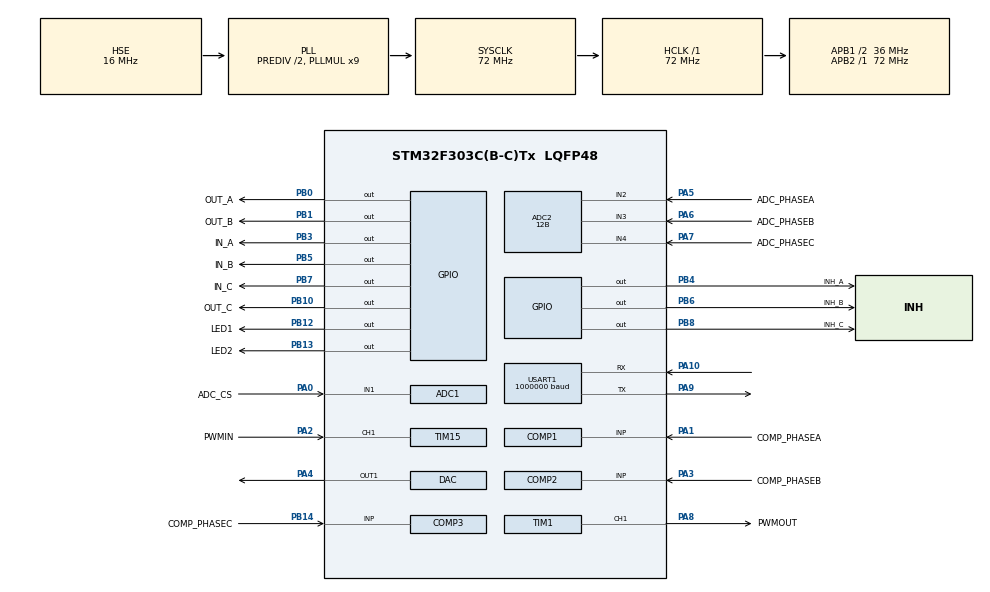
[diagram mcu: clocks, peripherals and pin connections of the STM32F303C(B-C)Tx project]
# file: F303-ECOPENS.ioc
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ADC1.Channel-0\#ChannelRegularConversion=ADC_CHANNEL_1
ADC1.ContinuousConvMode=ENABLE
ADC1.DMAContinuousRequests=ENABLE
ADC1.DataAlign=ADC_DATAALIGN_RIGHT
ADC1.EOCSelection=ADC_EOC_SEQ_CONV
ADC1.EnableInjectedConversion=DISABLE
ADC1.ExternalTrigConv=ADC_SOFTWARE_START
ADC1.ExternalTrigConvEdge=ADC_EXTERNALTRIGCONVEDGE_NONE
ADC1.NbrOfConversion=1
ADC1.NbrOfConversionFlag=1
ADC1.Offset-0\#ChannelRegularConversion=0
ADC1.OffsetNumber-0\#ChannelRegularConversion=ADC_OFFSET_NONE
ADC1.Rank-0\#ChannelRegularConversion=1
ADC1.SamplingTime-0\#ChannelRegularConversion=ADC_SAMPLETIME_19CYCLES_5
ADC1.SamplingTimeOPAMP-0\#ChannelRegularConversion=ADC_SAMPLETIME_4CYCLES_5
ADC1.master=1
ADC2.Channel-1\#ChannelRegularConversion=ADC_CHANNEL_2
ADC2.ClockPrescaler=ADC_CLOCK_ASYNC_DIV1
ADC2.ContinuousConvMode=ENABLE
ADC2.DMAContinuousRequests=ENABLE
ADC2.EnableInjectedConversion=DISABLE
ADC2.ExternalTrigConv=ADC_SOFTWARE_START
ADC2.ExternalTrigConvEdge=ADC_EXTERNALTRIGCONVEDGE_NONE
ADC2.NbrOfConversion=1
ADC2.NbrOfConversionFlag=1
ADC2.Offset-1\#ChannelRegularConversion=0
ADC2.OffsetNumber-1\#ChannelRegularConversion=ADC_OFFSET_NONE
ADC2.Rank-1\#ChannelRegularConversion=1
ADC2.Resolution=ADC_RESOLUTION_12B
ADC2.SamplingTime-1\#ChannelRegularConversion=ADC_SAMPLETIME_1CYCLE_5
COMP1.BlankingSrce=COMP_BLANKINGSRCE_TIM1OC5
COMP1.InvertingInput=COMP_INVERTINGINPUT_DAC1_CH1
COMP1.TriggerMode=COMP_TRIGGERMODE_IT_RISING_FALLING
COMP2.BlankingSrce=COMP_BLANKINGSRCE_TIM1OC5
COMP2.InvertingInput=COMP_INVERTINGINPUT_DAC1_CH1
COMP2.TriggerMode=COMP_TRIGGERMODE_IT_RISING_FALLING
COMP3.BlankingSrce=COMP_BLANKINGSRCE_TIM1OC5
COMP3.InvertingInput=COMP_INVERTINGINPUT_DAC1_CH1
COMP3.TriggerMode=COMP_TRIGGERMODE_IT_RISING_FALLING
Dma.ADC1.1.Direction=DMA_PERIPH_TO_MEMORY
Dma.ADC1.1.Instance=DMA1_Channel1
Dma.ADC1.1.MemDataAlignment=DMA_MDATAALIGN_HALFWORD
Dma.ADC1.1.MemInc=DMA_MINC_ENABLE
Dma.ADC1.1.Mode=DMA_CIRCULAR
Dma.ADC1.1.PeriphDataAlignment=DMA_PDATAALIGN_HALFWORD
Dma.ADC1.1.PeriphInc=DMA_PINC_DISABLE
Dma.ADC1.1.Priority=DMA_PRIORITY_LOW
Dma.ADC2.2.Direction=DMA_PERIPH_TO_MEMORY
Dma.ADC2.2.Instance=DMA2_Channel1
Dma.ADC2.2.MemDataAlignment=DMA_MDATAALIGN_HALFWORD
Dma.ADC2.2.MemInc=DMA_MINC_ENABLE
Dma.ADC2.2.Mode=DMA_CIRCULAR
Dma.ADC2.2.PeriphDataAlignment=DMA_PDATAALIGN_HALFWORD
Dma.ADC2.2.PeriphInc=DMA_PINC_DISABLE
Dma.ADC2.2.Priority=DMA_PRIORITY_HIGH
Dma.Request0=USART1_RX
Dma.Request1=ADC1
Dma.Request2=ADC2
Dma.USART1_RX.0.Direction=DMA_PERIPH_TO_MEMORY
Dma.USART1_RX.0.Instance=DMA1_Channel5
Dma.USART1_RX.0.MemDataAlignment=DMA_MDATAALIGN_BYTE
Dma.USART1_RX.0.MemInc=DMA_MINC_ENABLE
Dma.USART1_RX.0.Mode=DMA_CIRCULAR
Dma.USART1_RX.0.PeriphDataAlignment=DMA_PDATAALIGN_BYTE
Dma.USART1_RX.0.PeriphInc=DMA_PINC_DISABLE
Dma.USART1_RX.0.Priority=DMA_PRIORITY_LOW
Mcu.Family=STM32F3
Mcu.Name=STM32F303C(B-C)Tx
Mcu.Package=LQFP48
NVIC.COMP1_2_3_IRQn=true\:0\:0\:false\:false\:true\:false\:true
NVIC.DMA1_Channel1_IRQn=true\:3\:0\:true\:false\:true\:false\:true
NVIC.DMA1_Channel5_IRQn=true\:0\:0\:true\:false\:true\:false\:true
NVIC.DMA2_Channel1_IRQn=true\:0\:0\:false\:false\:true\:false\:true
NVIC.PriorityGroup=NVIC_PRIORITYGROUP_4
NVIC.TIM1_BRK_TIM15_IRQn=true\:0\:0\:true\:false\:true\:true\:true
NVIC.TIM1_CC_IRQn=true\:0\:0\:false\:false\:true\:true\:true
NVIC.TIM1_UP_TIM16_IRQn=true\:1\:0\:true\:false\:true\:true\:true
NVIC.TIM3_IRQn=true\:0\:0\:true\:false\:true\:true\:true
NVIC.TIM6_DAC_IRQn=true\:2\:0\:true\:false\:true\:true\:true
NVIC.USART1_IRQn=true\:1\:0\:true\:false\:true\:true\:true
PA0.GPIO_Label=ADC_CS
PA0.Mode=IN1-Single-Ended
PA0.Signal=ADC1_IN1
PA1.GPIO_Label=COMP_PHASEA
PA1.Mode=INP
PA1.Signal=COMP1_INP
PA10.Mode=Asynchronous
PA10.Signal=USART1_RX
PA13.Mode=Serial_Wire
PA13.Signal=SYS_JTMS-SWDIO
PA14.Mode=Serial_Wire
PA14.Signal=SYS_JTCK-SWCLK
PA2.GPIO_Label=PWMIN
PA2.GPIO_PuPd=GPIO_PULLDOWN
PA2.GPIO_Speed=GPIO_SPEED_FREQ_LOW
PA2.Signal=S_TIM15_CH1
PA3.GPIO_Label=COMP_PHASEB
PA3.Mode=INP
PA3.Signal=COMP2_INP
PA4.Signal=COMP_DAC1_group
PA5.GPIO_Label=ADC_PHASEA
PA5.Signal=SharedAnalog_PA5
PA6.GPIO_Label=ADC_PHASEB
PA6.Mode=IN3-Single-Ended
PA6.Signal=ADC2_IN3
PA7.GPIO_Label=ADC_PHASEC
PA7.Mode=IN4-Single-Ended
PA7.Signal=ADC2_IN4
PA8.GPIO_Label=PWMOUT
PA8.GPIO_PuPd=GPIO_PULLDOWN
PA8.GPIO_Speed=GPIO_SPEED_FREQ_HIGH
PA8.Signal=S_TIM1_CH1
PA9.Mode=Asynchronous
PA9.Signal=USART1_TX
PB0.GPIO_Label=OUT_A
PB0.GPIO_ModeDefaultOutputPP=GPIO_MODE_OUTPUT_OD
PB0.Signal=GPIO_Output
PB1.GPIO_Label=OUT_B
PB1.GPIO_ModeDefaultOutputPP=GPIO_MODE_OUTPUT_OD
PB1.Signal=GPIO_Output
PB10.GPIO_Label=OUT_C
PB10.GPIO_ModeDefaultOutputPP=GPIO_MODE_OUTPUT_OD
PB10.Signal=GPIO_Output
PB12.GPIO_Label=LED1
PB12.Signal=GPIO_Output
PB13.GPIO_Label=LED2
PB13.Signal=GPIO_Output
PB14.GPIO_Label=COMP_PHASEC
PB14.Mode=INP
PB14.Signal=COMP3_INP
PB3.GPIO_Label=IN_A
PB3.GPIO_ModeDefaultOutputPP=GPIO_MODE_OUTPUT_OD
PB3.Signal=GPIO_Output
PB4.GPIO_Label=INH_A
PB4.Signal=GPIO_Output
PB5.GPIO_Label=IN_B
PB5.GPIO_ModeDefaultOutputPP=GPIO_MODE_OUTPUT_OD
PB5.Signal=GPIO_Output
PB6.GPIO_Label=INH_B
PB6.Signal=GPIO_Output
PB7.GPIO_Label=IN_C
PB7.GPIO_ModeDefaultOutputPP=GPIO_MODE_OUTPUT_OD
PB7.Signal=GPIO_Output
PB8.GPIO_Label=INH_C
PB8.Signal=GPIO_Output
PF0-OSC_IN.Mode=HSE-External-Oscillator
PF0-OSC_IN.Signal=RCC_OSC_IN
PF1-OSC_OUT.Mode=HSE-External-Oscillator
PF1-OSC_OUT.Signal=RCC_OSC_OUT
ProjectManager.HeapSize=0x200
ProjectManager.StackSize=0x400
ProjectManager.TargetToolchain=STM32CubeIDE
RCC.ADC12PRES=RCC_ADC12PLLCLK_DIV6
RCC.AHBFreq_Value=72000000
RCC.APB1CLKDivider=RCC_HCLK_DIV2
RCC.APB1Freq_Value=36000000
RCC.APB1TimFreq_Value=72000000
RCC.APB2Freq_Value=72000000
RCC.APB2TimFreq_Value=72000000
RCC.CortexFreq_Value=72000000
RCC.HCLKFreq_Value=72000000
RCC.HSE_VALUE=16000000
RCC.HSI_VALUE=8000000
RCC.LSE_VALUE=32768
RCC.PLLMUL=RCC_PLL_MUL9
RCC.PLLSourceVirtual=RCC_PLLSOURCE_HSE
RCC.RCC_PLLsource_Clock_Source_FROM_HSE=RCC_HSE_PREDIV_DIV2
RCC.SYSCLKFreq_VALUE=72000000
RCC.SYSCLKSourceVirtual=RCC_SYSCLKSOURCE_PLLCLK
RCC.USBFreq_Value=72000000
SH.COMP_DAC1_group.0=DAC_OUT1,DAC_OUT1
SH.S_TIM15_CH1.0=TIM15_CH1,Input_Capture1_from_TI1
SH.S_TIM15_CH1.1=TIM15_CH1,Input_Capture2_from_TI1
SH.S_TIM1_CH1.0=TIM1_CH1,PWM Generation1 CH1
SH.SharedAnalog_PA5.0=OPAMP2_VINM
SH.SharedAnalog_PA5.1=ADC2_IN2,IN2-Single-Ended
TIM1.Channel-Output\ Compare2\ No\ Output=TIM_CHANNEL_2
TIM1.Channel-PWM\ Generation1\ CH1=TIM_CHANNEL_1
TIM1.Channel-PWM\ Generation5\ No\ Output=TIM_CHANNEL_5
TIM1.CounterMode=TIM_COUNTERMODE_CENTERALIGNED3
TIM1.OCFastMode_PWM-PWM\ Generation1\ CH1=TIM_OCFAST_ENABLE
TIM1.OCIdleState_1=TIM_OCIDLESTATE_SET
TIM1.OCIdleState_2=TIM_OCIDLESTATE_SET
TIM1.OCIdleState_5=TIM_OCIDLESTATE_SET
TIM1.OCMode_2=TIM_OCMODE_TOGGLE
TIM1.Period=2000
TIM1.Prescaler=2 - 1
TIM1.Pulse-Output\ Compare2\ No\ Output=100
TIM1.Pulse-PWM\ Generation1\ CH1=100
TIM1.Pulse-PWM\ Generation5\ No\ Output=120
TIM1.TIM_MasterOutputTrigger=TIM_TRGO_OC1
TIM1.TIM_MasterOutputTrigger2=TIM_TRGO2_OC5REF_RISING_OC6REF_RISING
TIM15.Channel-Input_Capture1_from_TI1=TIM_CHANNEL_1
TIM15.Channel-Input_Capture2_from_TI1=TIM_CHANNEL_2
TIM15.ICPolarity_CH2=TIM_INPUTCHANNELPOLARITY_FALLING
TIM15.Prescaler=72 - 1
TIM16.Period=1000
TIM16.Prescaler=72 - 1
TIM2.ClockDivision=TIM_CLOCKDIVISION_DIV1
TIM2.Prescaler=4 - 1
TIM3.Channel-Output\ Compare1\ No\ Output=TIM_CHANNEL_1
TIM3.Channel-Output\ Compare2\ No\ Output=TIM_CHANNEL_2
TIM3.ClockDivision=TIM_CLOCKDIVISION_DIV1
TIM3.Period=65000
TIM3.Prescaler=1
TIM3.Pulse-Output\ Compare1\ No\ Output=500
TIM3.Pulse-Output\ Compare2\ No\ Output=500
TIM6.Period=10 
TIM6.Prescaler=72 - 1
TIM7.Prescaler=6 - 1
USART1.BaudRate=1000000
USART1.VirtualMode-Asynchronous=VM_ASYNC
VP_COMP1_VS_DAC1OUT1.Mode=INM_DACOUT1
VP_COMP2_VS_DAC1OUT1.Mode=INM_DACOUT1
VP_COMP3_VS_DAC1OUT1.Mode=INM_DACOUT1
VP_TIM15_VS_ClockSourceINT.Mode=Internal
VP_TIM16_VS_ClockSourceINT.Mode=Enable_Timer
VP_TIM1_VS_no_output2.Mode=Output Compare2 No Output
VP_TIM1_VS_no_output5.Mode=PWM Generation5 No Output
VP_TIM2_VS_ClockSourceINT.Mode=Internal
VP_TIM3_VS_no_output1.Mode=Output Compare1 No Output
VP_TIM3_VS_no_output2.Mode=Output Compare2 No Output
VP_TIM6_VS_ClockSourceINT.Mode=Enable_Timer
VP_TIM7_VS_ClockSourceINT.Mode=Enable_Timer
board=custom

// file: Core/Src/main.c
/* USER CODE BEGIN Header */
/**
  ******************************************************************************
  * @file           : main.c
  * @brief          : Main program body
  ******************************************************************************
  * @attention
  *
  * <h2><center>&copy; Copyright (c) 2020 STMicroelectronics.
  * All rights reserved.</center></h2>
  *
  * This software component is licensed by ST under BSD 3-Clause license,
  * the "License"; You may not use this file except in compliance with the
  * License. You may obtain a copy of the License at:
  *                        opensource.org/licenses/BSD-3-Clause
  *
  ******************************************************************************
  */
/* USER CODE END Header */
#include "main.h"

/* USER CODE BEGIN Includes */
#include <string.h>
#include <stdbool.h>
#include <stdlib.h>
#include <stdio.h>
#include "dwt_delay.h"
/* USER CODE END Includes */

/* USER CODE BEGIN PTD */
typedef enum{
	MODE_MOTOR_STOP,
	MODE_MOTOR_CALIBRATION,
	MODE_MOTOR_READY,
	MODE_MOTOR_START,
	MODE_MOTOR_RUN
} MODE_MOTOR_t;
/* USER CODE END PTD */

ADC_HandleTypeDef hadc1;
ADC_HandleTypeDef hadc2;
DMA_HandleTypeDef hdma_adc1;
DMA_HandleTypeDef hdma_adc2;

COMP_HandleTypeDef hcomp1;
COMP_HandleTypeDef hcomp2;
COMP_HandleTypeDef hcomp3;

DAC_HandleTypeDef hdac;

TIM_HandleTypeDef htim1;
TIM_HandleTypeDef htim2;
TIM_HandleTypeDef htim3;
TIM_HandleTypeDef htim6;
TIM_HandleTypeDef htim7;
TIM_HandleTypeDef htim15;
TIM_HandleTypeDef htim16;

UART_HandleTypeDef huart1;
DMA_HandleTypeDef hdma_usart1_rx;

/* USER CODE BEGIN PV */
uint8_t buffer[200];
volatile uint16_t strSize;
volatile int commutationTimerCounter = 2000;
volatile uint16_t commutationTimerCounterArray[6] = { 20000, 20000, 2000, 20000, 20000, 20000 };
volatile uint8_t commutationStepCounter;
volatile uint8_t waitForCommutation = 1;
volatile uint16_t myADCvalue;
volatile uint16_t commutationTimerCounterAverage;
volatile uint16_t counterTIM3Values;
volatile int16_t commutationTimerOffset;

uint32_t tim2cnt;
uint8_t RXBuffer[200];
bool USART1DataFlag = false;
float adcIntegral = 0;

volatile int16_t newPWM = 100;
volatile int16_t setPWM = 100;
volatile int16_t compWindowOffset = 250; //this opens a comparator window to block overshooting signals from triggering (adjust to Vbat)
volatile uint16_t oc5Value = 200;  //preset offset-value (for fine tuning) of the DAC voltage output as the reference voltage for the compartors (about 0V or Vbat/2)
volatile uint8_t pwmState = 0; //indicates whether a zero crossing (pwm low) or a Vbat/2 crossing (pwm high) will be detected; 0 = PWM low detection, 1 = PWM high detection
volatile uint8_t bTransferRequest = 0;
volatile uint8_t motorGotStarted = 0;

ADC_ChannelConfTypeDef sConfig;
TIM_OC_InitTypeDef sConfigOC5B;
TIM_OC_InitTypeDef sConfigOC5A;
//float adcOffset = 2500;
float adcOffset = 2000;
uint8_t adcCounter = 0;
uint16_t csADC[12];
uint16_t adcBuffer[10];
uint16_t csSize;
uint8_t csString[100];
uint32_t tim7cnt;

volatile bool readRotation = false;

float measuredRPM = 0;
float inputRPM = 0;
uint32_t rpm_cnt = 0;

uint16_t input_pwm_min = 1000;
uint16_t input_pwm_max = 1900;

uint32_t inputDutyCycle = 0;
float inputFrequency = 0;
uint16_t oc5ValueOld = 0;

MODE_MOTOR_t mode_motor = MODE_MOTOR_STOP;
DMA_Event_t dma_uart_rx = {0, 0, DMA_BUF_SIZE};
uint8_t dma_rx_buf[DMA_BUF_SIZE];
uint8_t data[DMA_BUF_SIZE] = {'\0'};

/* USER CODE END PV */

void SystemClock_Config(void);
static void MX_GPIO_Init(void);
static void MX_DMA_Init(void);
static void MX_ADC1_Init(void);
static void MX_COMP1_Init(void);
static void MX_COMP2_Init(void);
static void MX_COMP3_Init(void);
static void MX_DAC_Init(void);
static void MX_TIM1_Init(void);
static void MX_TIM3_Init(void);
static void MX_USART1_UART_Init(void);
static void MX_ADC2_Init(void);
static void MX_TIM15_Init(void);
static void MX_TIM2_Init(void);
static void MX_TIM6_Init(void);
static void MX_TIM7_Init(void);
static void MX_TIM16_Init(void);
/* USER CODE BEGIN PFP */
void Controller(){
	float kp = 0.005f, ki = 0.0025f, kd = 0.00f;
	float error = (float)(inputRPM - measuredRPM);

	static float sumIntegral;
	sumIntegral += error * 0.00001;
	sumIntegral = constrain(sumIntegral, -5000, 5000);

	static float preverror;
	float derivative = (error - preverror) * 0.00001;
	preverror = error;

	float output = kp * error + ki * sumIntegral + kd * derivative;
	int16_t pwmError;
	if(output < 0){
		pwmError = (int16_t)map(output, -5000, 0,-PWM_MAX, PWM_MIN);
	} else if(output >= 0){
		pwmError = (int16_t)map(output, 0, 5000, PWM_MIN, PWM_MAX);
	}
	newPWM += pwmError;
	setPWM = constrain(newPWM, PWM_MIN, PWM_MAX);

	TIM1->CCR1 = setPWM;
	TIM1->CCR5 = setPWM + compWindowOffset;

}

void getUSARTData(){
	 if(USART1DataFlag){
		 USART1DataFlag = false;
		 if(data[0] == '#'){
			 if(memcmp(data + 1, "PWM=", 4) == 0 || memcmp(data + 1, "pwm=", 4) == 0){
				uint8_t value[4];
				memcpy(value, data + 5, 4);
				uint16_t x = atoi((char*)value);
				if(x){
					x = constrain(x, 1000, 2000);
					newPWM = map(x, 1000, 2000, PWM_MIN, PWM_MAX);
					setPWM = newPWM;

					TIM1->CCR1 = setPWM;
					TIM1->CCR5 = setPWM + compWindowOffset;

					strSize = sprintf((char*)buffer, "PWM: %d\r\n", newPWM);
					HAL_UART_Transmit(&huart1, buffer, strSize, 50);
				}
			}
			else if(memcmp(data + 1, "OC5=", 4) == 0 || memcmp(data + 1, "oc5=", 4) == 0){
				//uint8_t value[3];
				//memcpy(value, data + 5, 3);
				oc5Value = (uint16_t)strtoul((char*)data + 5, '\0',10);
				strSize = sprintf((char*)buffer, "oc5: %d\r\n", oc5Value);
				HAL_UART_Transmit(&huart1, buffer, strSize, 50);
			}
			else if(memcmp(data + 1, "STA", 3) == 0 || memcmp(data + 1, "sta", 3) == 0){
				motorGotStarted = 1;
				strSize = sprintf((char*)buffer, "Start Motor\r\n");
				HAL_UART_Transmit(&huart1, buffer, strSize, 50);
			}
			else if(memcmp(data + 1, "STO", 3) == 0 || memcmp(data + 1, "sto", 3) == 0){
				newPWM = setPWM = 0;
				TIM1->CCR1 = setPWM;
				TIM1->CCR5 = setPWM + compWindowOffset;
				motorGotStarted = 0;
				strSize = sprintf((char*)buffer, "Stop Motor\r\n");
				HAL_UART_Transmit(&huart1, buffer, strSize, 50);
			}
			else if(memcmp(data + 1, "ADO", 3) == 0 || memcmp(data +1, "ado", 3) == 0){
				adcOffset = (float)strtof((char*)data + 5,'\0');
				strSize = sprintf((char*)buffer, "ADC Offset: %f\r\n", adcOffset);
				HAL_UART_Transmit(&huart1, buffer, strSize, 20);
			}
			else if(memcmp(data + 1, "STS", 3) == 0 || memcmp(data + 1, "sts", 3) == 0){
				strSize = sprintf((char*)buffer, "adcOffset: %f\r\noc5Value: %d\r\n", adcOffset, oc5Value);
				HAL_UART_Transmit_IT(&huart1, buffer, strSize);
			}
		}
	 }
}
void commutateNow_0(void){
	HAL_GPIO_WritePin(INH_B_GPIO_Port, INH_B_Pin, GPIO_PIN_RESET);
	HAL_GPIO_WritePin(IN_C_GPIO_Port, IN_C_Pin, GPIO_PIN_RESET);
	HAL_GPIO_WritePin(INH_C_GPIO_Port, INH_C_Pin, GPIO_PIN_SET);
}

void commutateNow_1(void){
	HAL_GPIO_WritePin(INH_A_GPIO_Port, INH_A_Pin, GPIO_PIN_RESET);
	HAL_GPIO_WritePin(IN_B_GPIO_Port, IN_B_Pin, GPIO_PIN_SET);
	HAL_GPIO_WritePin(INH_B_GPIO_Port, INH_B_Pin, GPIO_PIN_SET);
}

void commutateNow_2(void){
	HAL_GPIO_WritePin(IN_A_GPIO_Port, IN_A_Pin, GPIO_PIN_RESET);
	HAL_GPIO_WritePin(INH_A_GPIO_Port, INH_A_Pin, GPIO_PIN_SET);
	HAL_GPIO_WritePin(INH_C_GPIO_Port, INH_C_Pin, GPIO_PIN_RESET);
}

void commutateNow_3(void){
	HAL_GPIO_WritePin(INH_B_GPIO_Port, INH_B_Pin, GPIO_PIN_RESET); //INH_B connected to ground, IC B Sleep Mode
	HAL_GPIO_WritePin(IN_C_GPIO_Port, IN_C_Pin, GPIO_PIN_SET); //IN_C floating, pwm mode
	HAL_GPIO_WritePin(INH_C_GPIO_Port, INH_C_Pin, GPIO_PIN_SET); //INH_C is high, IC C Active Mode

}

void commutateNow_4(void){
	HAL_GPIO_WritePin(INH_A_GPIO_Port, INH_A_Pin, GPIO_PIN_RESET); //INH_A connected to ground, IC A Sleep Mode
	HAL_GPIO_WritePin(IN_B_GPIO_Port, IN_B_Pin, GPIO_PIN_RESET); //IN_B connected to ground
	HAL_GPIO_WritePin(INH_B_GPIO_Port, INH_B_Pin, GPIO_PIN_SET); //INH_B is high, IC B Active Mode

}
void commutateNow_5(void){
	HAL_GPIO_WritePin(IN_A_GPIO_Port, IN_A_Pin, GPIO_PIN_SET); //IN_A connected to ground, PWM Mode
	HAL_GPIO_WritePin(INH_A_GPIO_Port, INH_A_Pin, GPIO_PIN_SET); //INH_A is HIGH, IC A Active Mode
	HAL_GPIO_WritePin(INH_C_GPIO_Port, INH_C_Pin, GPIO_PIN_RESET); //INH_C connected to ground, IC C Sleep Mode
}

void commutationPattern(uint8_t step){
	if (step == NEXT && waitForCommutation == 1) {
		if (commutationStepCounter < STEP_5)
			commutationStepCounter++;
		else{
			commutationStepCounter = STEP_0;
		}
		switch (commutationStepCounter) {
		case STEP_0:
			commutateNow_0();
			COMPDELAY;
			waitForCommutation = 0;
			HAL_COMP_Start_IT(&hcomp2);
			break;
		case STEP_1:
			commutateNow_1();
			COMPDELAY;
			waitForCommutation = 0;
			HAL_COMP_Start_IT(&hcomp1);
			break;
		case STEP_2:
			commutateNow_2();
			COMPDELAY;
			waitForCommutation = 0;
			HAL_COMP_Start_IT(&hcomp3);
			break;
		case STEP_3:
			commutateNow_3();
			COMPDELAY;
			waitForCommutation = 0;
			HAL_COMP_Start_IT(&hcomp2);
			break;
		case STEP_4:
			commutateNow_4();
			COMPDELAY;
			waitForCommutation = 0;
			HAL_COMP_Start_IT(&hcomp1);
			break;
		case STEP_5:
			commutateNow_5();
			COMPDELAY;
			waitForCommutation = 0;
			HAL_COMP_Start_IT(&hcomp3);
			break;
		}
	} else {
		waitForCommutation = 0;
		switch (step) {
		case STEP_0:
			commutateNow_0();
			break;
		case STEP_1:
			commutateNow_1();
			break;
		case STEP_2:
			commutateNow_2();
			break;
		case STEP_3:
			commutateNow_3();
			break;
		case STEP_4:
			commutateNow_4();
			break;
		case STEP_5:
			commutateNow_5();
			break;
		}
	}
}

/*void startMotor(void){
	newPWM = setPWM = 300;
	compWindowOffset = 200;
	TIM1->CCR1 = setPWM;
	TIM1->CCR5 = setPWM + compWindowOffset;

	commutateNow_0();
	HAL_Delay(150);
	commutationStepCounter = STEP_0;
	waitForCommutation = 1;

	for (uint16_t i = 0; i <1; i++) {
		commutationPattern(NEXT);
		waitForCommutation = 1;
		HAL_Delay(150);
	}
	HAL_Delay(150);
	motorGotStarted = 2;
}*/

/*void startMotor(){
	TIM1->CCR1 = 350;
	TIM1->CCR5 = 350 + compWindowOffset;
	waitForCommutation = 0;

	commutateNow_0();
	HAL_Delay(10);
	commutateNow_2();
	HAL_Delay(10);

	commutateNow_4();
	COMPDELAY;
	HAL_COMP_Start(&hcomp1);
	while(HAL_COMP_GetOutputLevel(&hcomp1) != COMP_OUTPUTLEVEL_LOW);
	HAL_COMP_Stop(&hcomp1);

	commutateNow_5();
	COMPDELAY;
	HAL_COMP_Start(&hcomp3);
	while(HAL_COMP_GetOutputLevel(&hcomp3) != COMP_OUTPUTLEVEL_HIGH);
	HAL_COMP_Stop(&hcomp3);

	__HAL_ADC_DISABLE_IT(&hadc1, ADC_IT_EOC);
	__HAL_ADC_DISABLE_IT(&hadc2, ADC_IT_EOC);
	HAL_ADC_Start_DMA(&hadc1, (uint32_t*)csADC, 12);
	mode_motor = MODE_MOTOR_RUN;

	commutationStepCounter = STEP_5;
	waitForCommutation = 1;
	HAL_TIM_Base_Start(&htim7);
	commutationPattern(NEXT);
	//HAL_ADC_Start_IT(&hadc1);

	motorGotStarted = 2;
}*/

void startMotor(){
	adcIntegral = 0;
	setPWM =  newPWM = 350;

	TIM1->CCR1 = setPWM;
	TIM1->CCR5 = setPWM + compWindowOffset;

	uint8_t step = 0;
	uint16_t i = 2020;

	while(i > 1300){
		DWT_Delay(i);
		commutationPattern(step);
		step += 1;
		step %= 6;
		i -= 10;
		//DWT_Delay(10);
	}

	//HAL_ADC_Start_IT(&hadc1);
	__HAL_ADC_DISABLE_IT(&hadc1, ADC_IT_EOC);
	__HAL_ADC_DISABLE_IT(&hadc1, ADC_IT_EOS);
	__HAL_ADC_DISABLE_IT(&hadc2, ADC_IT_EOC);
	HAL_ADC_Start_DMA(&hadc1, (uint32_t*)csADC, 12);

	__HAL_TIM_SET_COUNTER(&htim2, 0);
	commutationStepCounter = STEP_5;
	waitForCommutation = 1;
	HAL_TIM_Base_Start(&htim7);
	commutationPattern(NEXT);

	mode_motor = MODE_MOTOR_RUN;
}

/* USER CODE END PFP */

int main(void)
{

  /* MCU Configuration--------------------------------------------------------*/

  /* Reset of all peripherals, Initializes the Flash interface and the Systick. */
  HAL_Init();

  /* Configure the system clock */
  SystemClock_Config();

  /* Initialize all configured peripherals */
  MX_GPIO_Init();
  MX_DMA_Init();
  MX_ADC1_Init();
  MX_COMP1_Init();
  MX_COMP2_Init();
  MX_COMP3_Init();
  MX_DAC_Init();
  MX_TIM1_Init();
  MX_TIM3_Init();
  MX_USART1_UART_Init();
  MX_ADC2_Init();
  MX_TIM15_Init();
  MX_TIM2_Init();
  MX_TIM6_Init();
  MX_TIM7_Init();
  MX_TIM16_Init();
  /* USER CODE BEGIN 2 */
  HAL_Delay(100);
  DWT_Init();
  mode_motor = MODE_MOTOR_STOP;

  sConfig.Rank = ADC_REGULAR_RANK_1;
  sConfig.SingleDiff = ADC_SINGLE_ENDED;
  sConfig.SamplingTime = ADC_SAMPLETIME_1CYCLE_5;
  sConfig.OffsetNumber = ADC_OFFSET_NONE;
  sConfig.Offset = 0;

  sConfigOC5B.OCMode = TIM_OCMODE_PWM1;
  sConfigOC5B.OCFastMode = TIM_OCFAST_DISABLE;
  sConfigOC5B.OCIdleState = TIM_OCIDLESTATE_RESET;
  sConfigOC5B.OCPolarity = TIM_OCPOLARITY_HIGH; //HIGH for PWM low detection

  sConfigOC5A.OCMode = TIM_OCMODE_PWM1;
  sConfigOC5A.OCFastMode = TIM_OCFAST_DISABLE; //DISABLE
  sConfigOC5A.OCIdleState = TIM_OCIDLESTATE_RESET;
  sConfigOC5A.OCPolarity = TIM_OCPOLARITY_LOW; //LOW for PWM high detection

  HAL_TIM_PWM_Start(&htim1, TIM_CHANNEL_1);
  HAL_TIM_PWM_Start(&htim1, TIM_CHANNEL_5);
  HAL_TIM_Base_Start(&htim2);
  //HAL_TIM_OC_Start_IT(&htim3, TIM_CHANNEL_1);
  HAL_DAC_Start(&hdac, DAC_CHANNEL_1);
  HAL_DAC_SetValue(&hdac, DAC_CHANNEL_1, DAC_ALIGN_12B_R, 0);
  newPWM = setPWM = TIM1->CCR1 = TIM1->CCR5 = 0;

  __HAL_UART_ENABLE_IT(&huart1, UART_IT_IDLE);

  if(HAL_UART_Receive_DMA(&huart1, dma_rx_buf, DMA_BUF_SIZE) != HAL_OK){
	  Error_Handler();
  }

  HAL_TIM_Base_Start_IT(&htim6);
  HAL_TIM_Base_Start_IT(&htim16);

  __HAL_DMA_DISABLE_IT(huart1.hdmarx, DMA_IT_HT);

  HAL_TIM_IC_Start_IT(&htim15, TIM_CHANNEL_1);
  HAL_TIM_IC_Start_IT(&htim15, TIM_CHANNEL_2);

  strSize = sprintf((char*)buffer, "Test\r\n");
  HAL_UART_Transmit(&huart1, buffer, strSize, 10);

  /* USER CODE END 2 */

  /* Infinite loop */
  /* USER CODE BEGIN WHILE */
  while (1)
  {
	  switch(mode_motor){
	  case MODE_MOTOR_STOP:
		  break;
	  case MODE_MOTOR_CALIBRATION:
		  while(mode_motor == MODE_MOTOR_CALIBRATION){
			  static int calibration_counter;
			  if(inputDutyCycle < input_pwm_min) input_pwm_min = inputDutyCycle;
			  if(inputDutyCycle > input_pwm_max) input_pwm_max = inputDutyCycle;
			  if(inputDutyCycle < 1050){
				  if(calibration_counter > 1000){
					  strSize = sprintf((char*)buffer, "motor ready\r\n");
					  HAL_UART_Transmit(&huart1, buffer, strSize, 10);
					  mode_motor = MODE_MOTOR_READY;
				  }
				  calibration_counter++;
				  HAL_Delay(1);
			  }
		  }
		  break;
	  case MODE_MOTOR_READY:
		  TIM1->CCR1 = 0;
		  TIM1->CCR5 = 0;
		  tim2cnt = 0;
		  break;
	  case MODE_MOTOR_START:
		  startMotor();
		  break;
	  case MODE_MOTOR_RUN:
			newPWM = map(inputDutyCycle, input_pwm_min, input_pwm_max, PWM_MIN, PWM_MAX);
			setPWM = newPWM;

		  	if(inputDutyCycle < 1050){
				measuredRPM = 0;
				inputRPM = 0;
				mode_motor = MODE_MOTOR_READY;
				strSize = sprintf((char*)buffer, "motor ready\r\n");
				HAL_UART_Transmit(&huart1, buffer, strSize, 10);
				HAL_ADC_Stop_DMA(&hadc1);
		  	} else {
				TIM1->CCR1 = setPWM;
				TIM1->CCR5 = setPWM + compWindowOffset;
		  	}
	  	  break;
	  }

	  getUSARTData();
    /* USER CODE END WHILE */

  }
}

void SystemClock_Config(void)
{
  RCC_OscInitTypeDef RCC_OscInitStruct = {0};
  RCC_ClkInitTypeDef RCC_ClkInitStruct = {0};
  RCC_PeriphCLKInitTypeDef PeriphClkInit = {0};

  /** Initializes the RCC Oscillators according to the specified parameters
  * in the RCC_OscInitTypeDef structure.
  */
  RCC_OscInitStruct.OscillatorType = RCC_OSCILLATORTYPE_HSE;
  RCC_OscInitStruct.HSEState = RCC_HSE_ON;
  RCC_OscInitStruct.HSEPredivValue = RCC_HSE_PREDIV_DIV2;
  RCC_OscInitStruct.HSIState = RCC_HSI_ON;
  RCC_OscInitStruct.PLL.PLLState = RCC_PLL_ON;
  RCC_OscInitStruct.PLL.PLLSource = RCC_PLLSOURCE_HSE;
  RCC_OscInitStruct.PLL.PLLMUL = RCC_PLL_MUL9;
  if (HAL_RCC_OscConfig(&RCC_OscInitStruct) != HAL_OK)
  {
    Error_Handler();
  }
  /** Initializes the CPU, AHB and APB buses clocks
  */
  RCC_ClkInitStruct.ClockType = RCC_CLOCKTYPE_HCLK|RCC_CLOCKTYPE_SYSCLK
                              |RCC_CLOCKTYPE_PCLK1|RCC_CLOCKTYPE_PCLK2;
  RCC_ClkInitStruct.SYSCLKSource = RCC_SYSCLKSOURCE_PLLCLK;
  RCC_ClkInitStruct.AHBCLKDivider = RCC_SYSCLK_DIV1;
  RCC_ClkInitStruct.APB1CLKDivider = RCC_HCLK_DIV2;
  RCC_ClkInitStruct.APB2CLKDivider = RCC_HCLK_DIV1;

  if (HAL_RCC_ClockConfig(&RCC_ClkInitStruct, FLASH_LATENCY_2) != HAL_OK)
  {
    Error_Handler();
  }
  PeriphClkInit.PeriphClockSelection = RCC_PERIPHCLK_USART1|RCC_PERIPHCLK_TIM1
                              |RCC_PERIPHCLK_ADC12;
  PeriphClkInit.Usart1ClockSelection = RCC_USART1CLKSOURCE_PCLK2;
  PeriphClkInit.Adc12ClockSelection = RCC_ADC12PLLCLK_DIV6;
  PeriphClkInit.Tim1ClockSelection = RCC_TIM1CLK_HCLK;
  if (HAL_RCCEx_PeriphCLKConfig(&PeriphClkInit) != HAL_OK)
  {
    Error_Handler();
  }
}

static void MX_ADC1_Init(void)
{

  ADC_MultiModeTypeDef multimode = {0};
  ADC_ChannelConfTypeDef sConfig = {0};

  /** Common config
  */
  hadc1.Instance = ADC1;
  hadc1.Init.ClockPrescaler = ADC_CLOCK_ASYNC_DIV1;
  hadc1.Init.Resolution = ADC_RESOLUTION_12B;
  hadc1.Init.ScanConvMode = ADC_SCAN_DISABLE;
  hadc1.Init.ContinuousConvMode = ENABLE;
  hadc1.Init.DiscontinuousConvMode = DISABLE;
  hadc1.Init.ExternalTrigConvEdge = ADC_EXTERNALTRIGCONVEDGE_NONE;
  hadc1.Init.ExternalTrigConv = ADC_SOFTWARE_START;
  hadc1.Init.DataAlign = ADC_DATAALIGN_RIGHT;
  hadc1.Init.NbrOfConversion = 1;
  hadc1.Init.DMAContinuousRequests = ENABLE;
  hadc1.Init.EOCSelection = ADC_EOC_SEQ_CONV;
  hadc1.Init.LowPowerAutoWait = DISABLE;
  hadc1.Init.Overrun = ADC_OVR_DATA_OVERWRITTEN;
  if (HAL_ADC_Init(&hadc1) != HAL_OK)
  {
    Error_Handler();
  }
  /** Configure the ADC multi-mode
  */
  multimode.Mode = ADC_MODE_INDEPENDENT;
  if (HAL_ADCEx_MultiModeConfigChannel(&hadc1, &multimode) != HAL_OK)
  {
    Error_Handler();
  }
  /** Configure Regular Channel
  */
  sConfig.Channel = ADC_CHANNEL_1;
  sConfig.Rank = ADC_REGULAR_RANK_1;
  sConfig.SingleDiff = ADC_SINGLE_ENDED;
  sConfig.SamplingTime = ADC_SAMPLETIME_19CYCLES_5;
  sConfig.OffsetNumber = ADC_OFFSET_NONE;
  sConfig.Offset = 0;
  if (HAL_ADC_ConfigChannel(&hadc1, &sConfig) != HAL_OK)
  {
    Error_Handler();
  }

}

static void MX_ADC2_Init(void)
{

  ADC_ChannelConfTypeDef sConfig = {0};

  /** Common config
  */
  hadc2.Instance = ADC2;
  hadc2.Init.ClockPrescaler = ADC_CLOCK_ASYNC_DIV1;
  hadc2.Init.Resolution = ADC_RESOLUTION_12B;
  hadc2.Init.ScanConvMode = ADC_SCAN_DISABLE;
  hadc2.Init.ContinuousConvMode = ENABLE;
  hadc2.Init.DiscontinuousConvMode = DISABLE;
  hadc2.Init.ExternalTrigConvEdge = ADC_EXTERNALTRIGCONVEDGE_NONE;
  hadc2.Init.ExternalTrigConv = ADC_SOFTWARE_START;
  hadc2.Init.DataAlign = ADC_DATAALIGN_RIGHT;
  hadc2.Init.NbrOfConversion = 1;
  hadc2.Init.DMAContinuousRequests = ENABLE;
  hadc2.Init.EOCSelection = ADC_EOC_SINGLE_CONV;
  hadc2.Init.LowPowerAutoWait = DISABLE;
  hadc2.Init.Overrun = ADC_OVR_DATA_OVERWRITTEN;
  if (HAL_ADC_Init(&hadc2) != HAL_OK)
  {
    Error_Handler();
  }
  /** Configure Regular Channel
  */
  sConfig.Channel = ADC_CHANNEL_2;
  sConfig.Rank = ADC_REGULAR_RANK_1;
  sConfig.SingleDiff = ADC_SINGLE_ENDED;
  sConfig.SamplingTime = ADC_SAMPLETIME_1CYCLE_5;
  sConfig.OffsetNumber = ADC_OFFSET_NONE;
  sConfig.Offset = 0;
  if (HAL_ADC_ConfigChannel(&hadc2, &sConfig) != HAL_OK)
  {
    Error_Handler();
  }

}

static void MX_COMP1_Init(void)
{

  hcomp1.Instance = COMP1;
  hcomp1.Init.InvertingInput = COMP_INVERTINGINPUT_DAC1_CH1;
  hcomp1.Init.NonInvertingInput = COMP_NONINVERTINGINPUT_IO1;
  hcomp1.Init.Output = COMP_OUTPUT_NONE;
  hcomp1.Init.OutputPol = COMP_OUTPUTPOL_NONINVERTED;
  hcomp1.Init.Hysteresis = COMP_HYSTERESIS_NONE;
  hcomp1.Init.BlankingSrce = COMP_BLANKINGSRCE_TIM1OC5;
  hcomp1.Init.Mode = COMP_MODE_HIGHSPEED;
  hcomp1.Init.WindowMode = COMP_WINDOWMODE_DISABLE;
  hcomp1.Init.TriggerMode = COMP_TRIGGERMODE_IT_RISING_FALLING;
  if (HAL_COMP_Init(&hcomp1) != HAL_OK)
  {
    Error_Handler();
  }

}

static void MX_COMP2_Init(void)
{

  hcomp2.Instance = COMP2;
  hcomp2.Init.InvertingInput = COMP_INVERTINGINPUT_DAC1_CH1;
  hcomp2.Init.NonInvertingInput = COMP_NONINVERTINGINPUT_IO2;
  hcomp2.Init.Output = COMP_OUTPUT_NONE;
  hcomp2.Init.OutputPol = COMP_OUTPUTPOL_NONINVERTED;
  hcomp2.Init.Hysteresis = COMP_HYSTERESIS_NONE;
  hcomp2.Init.BlankingSrce = COMP_BLANKINGSRCE_TIM1OC5;
  hcomp2.Init.Mode = COMP_MODE_HIGHSPEED;
  hcomp2.Init.WindowMode = COMP_WINDOWMODE_DISABLE;
  hcomp2.Init.TriggerMode = COMP_TRIGGERMODE_IT_RISING_FALLING;
  if (HAL_COMP_Init(&hcomp2) != HAL_OK)
  {
    Error_Handler();
  }

}

static void MX_COMP3_Init(void)
{

  hcomp3.Instance = COMP3;
  hcomp3.Init.InvertingInput = COMP_INVERTINGINPUT_DAC1_CH1;
  hcomp3.Init.NonInvertingInput = COMP_NONINVERTINGINPUT_IO1;
  hcomp3.Init.Output = COMP_OUTPUT_NONE;
  hcomp3.Init.OutputPol = COMP_OUTPUTPOL_NONINVERTED;
  hcomp3.Init.Hysteresis = COMP_HYSTERESIS_NONE;
  hcomp3.Init.BlankingSrce = COMP_BLANKINGSRCE_TIM1OC5;
  hcomp3.Init.Mode = COMP_MODE_HIGHSPEED;
  hcomp3.Init.WindowMode = COMP_WINDOWMODE_DISABLE;
  hcomp3.Init.TriggerMode = COMP_TRIGGERMODE_IT_RISING_FALLING;
  if (HAL_COMP_Init(&hcomp3) != HAL_OK)
  {
    Error_Handler();
  }

}

static void MX_DAC_Init(void)
{

  DAC_ChannelConfTypeDef sConfig = {0};

  /** DAC Initialization
  */
  hdac.Instance = DAC;
  if (HAL_DAC_Init(&hdac) != HAL_OK)
  {
    Error_Handler();
  }
  /** DAC channel OUT1 config
  */
  sConfig.DAC_Trigger = DAC_TRIGGER_NONE;
  sConfig.DAC_OutputBuffer = DAC_OUTPUTBUFFER_ENABLE;
  if (HAL_DAC_ConfigChannel(&hdac, &sConfig, DAC_CHANNEL_1) != HAL_OK)
  {
    Error_Handler();
  }

}

static void MX_TIM1_Init(void)
{

  TIM_MasterConfigTypeDef sMasterConfig = {0};
  TIM_OC_InitTypeDef sConfigOC = {0};
  TIM_BreakDeadTimeConfigTypeDef sBreakDeadTimeConfig = {0};

  htim1.Instance = TIM1;
  htim1.Init.Prescaler = 2 - 1;
  htim1.Init.CounterMode = TIM_COUNTERMODE_CENTERALIGNED3;
  htim1.Init.Period = 2000;
  htim1.Init.ClockDivision = TIM_CLOCKDIVISION_DIV1;
  htim1.Init.RepetitionCounter = 0;
  htim1.Init.AutoReloadPreload = TIM_AUTORELOAD_PRELOAD_DISABLE;
  if (HAL_TIM_PWM_Init(&htim1) != HAL_OK)
  {
    Error_Handler();
  }
  if (HAL_TIM_OC_Init(&htim1) != HAL_OK)
  {
    Error_Handler();
  }
  sMasterConfig.MasterOutputTrigger = TIM_TRGO_OC1;
  sMasterConfig.MasterOutputTrigger2 = TIM_TRGO2_OC5REF_RISING_OC6REF_RISING;
  sMasterConfig.MasterSlaveMode = TIM_MASTERSLAVEMODE_DISABLE;
  if (HAL_TIMEx_MasterConfigSynchronization(&htim1, &sMasterConfig) != HAL_OK)
  {
    Error_Handler();
  }
  sConfigOC.OCMode = TIM_OCMODE_PWM1;
  sConfigOC.Pulse = 100;
  sConfigOC.OCPolarity = TIM_OCPOLARITY_HIGH;
  sConfigOC.OCNPolarity = TIM_OCNPOLARITY_HIGH;
  sConfigOC.OCFastMode = TIM_OCFAST_ENABLE;
  sConfigOC.OCIdleState = TIM_OCIDLESTATE_SET;
  sConfigOC.OCNIdleState = TIM_OCNIDLESTATE_RESET;
  if (HAL_TIM_PWM_ConfigChannel(&htim1, &sConfigOC, TIM_CHANNEL_1) != HAL_OK)
  {
    Error_Handler();
  }
  sConfigOC.OCMode = TIM_OCMODE_TOGGLE;
  sConfigOC.OCFastMode = TIM_OCFAST_DISABLE;
  if (HAL_TIM_OC_ConfigChannel(&htim1, &sConfigOC, TIM_CHANNEL_2) != HAL_OK)
  {
    Error_Handler();
  }
  sConfigOC.OCMode = TIM_OCMODE_PWM1;
  sConfigOC.Pulse = 120;
  if (HAL_TIM_PWM_ConfigChannel(&htim1, &sConfigOC, TIM_CHANNEL_5) != HAL_OK)
  {
    Error_Handler();
  }
  sBreakDeadTimeConfig.OffStateRunMode = TIM_OSSR_DISABLE;
  sBreakDeadTimeConfig.OffStateIDLEMode = TIM_OSSI_DISABLE;
  sBreakDeadTimeConfig.LockLevel = TIM_LOCKLEVEL_OFF;
  sBreakDeadTimeConfig.DeadTime = 0;
  sBreakDeadTimeConfig.BreakState = TIM_BREAK_DISABLE;
  sBreakDeadTimeConfig.BreakPolarity = TIM_BREAKPOLARITY_HIGH;
  sBreakDeadTimeConfig.BreakFilter = 0;
  sBreakDeadTimeConfig.Break2State = TIM_BREAK2_DISABLE;
  sBreakDeadTimeConfig.Break2Polarity = TIM_BREAK2POLARITY_HIGH;
  sBreakDeadTimeConfig.Break2Filter = 0;
  sBreakDeadTimeConfig.AutomaticOutput = TIM_AUTOMATICOUTPUT_DISABLE;
  if (HAL_TIMEx_ConfigBreakDeadTime(&htim1, &sBreakDeadTimeConfig) != HAL_OK)
  {
    Error_Handler();
  }
  HAL_TIM_MspPostInit(&htim1);

}

static void MX_TIM2_Init(void)
{

  TIM_ClockConfigTypeDef sClockSourceConfig = {0};
  TIM_MasterConfigTypeDef sMasterConfig = {0};

  htim2.Instance = TIM2;
  htim2.Init.Prescaler = 4 - 1;
  htim2.Init.CounterMode = TIM_COUNTERMODE_UP;
  htim2.Init.Period = 4294967295;
  htim2.Init.ClockDivision = TIM_CLOCKDIVISION_DIV1;
  htim2.Init.AutoReloadPreload = TIM_AUTORELOAD_PRELOAD_DISABLE;
  if (HAL_TIM_Base_Init(&htim2) != HAL_OK)
  {
    Error_Handler();
  }
  sClockSourceConfig.ClockSource = TIM_CLOCKSOURCE_INTERNAL;
  if (HAL_TIM_ConfigClockSource(&htim2, &sClockSourceConfig) != HAL_OK)
  {
    Error_Handler();
  }
  sMasterConfig.MasterOutputTrigger = TIM_TRGO_RESET;
  sMasterConfig.MasterSlaveMode = TIM_MASTERSLAVEMODE_DISABLE;
  if (HAL_TIMEx_MasterConfigSynchronization(&htim2, &sMasterConfig) != HAL_OK)
  {
    Error_Handler();
  }

}

static void MX_TIM3_Init(void)
{

  TIM_MasterConfigTypeDef sMasterConfig = {0};
  TIM_OC_InitTypeDef sConfigOC = {0};

  htim3.Instance = TIM3;
  htim3.Init.Prescaler = 1;
  htim3.Init.CounterMode = TIM_COUNTERMODE_UP;
  htim3.Init.Period = 65000;
  htim3.Init.ClockDivision = TIM_CLOCKDIVISION_DIV1;
  htim3.Init.AutoReloadPreload = TIM_AUTORELOAD_PRELOAD_DISABLE;
  if (HAL_TIM_OC_Init(&htim3) != HAL_OK)
  {
    Error_Handler();
  }
  sMasterConfig.MasterOutputTrigger = TIM_TRGO_RESET;
  sMasterConfig.MasterSlaveMode = TIM_MASTERSLAVEMODE_DISABLE;
  if (HAL_TIMEx_MasterConfigSynchronization(&htim3, &sMasterConfig) != HAL_OK)
  {
    Error_Handler();
  }
  sConfigOC.OCMode = TIM_OCMODE_TIMING;
  sConfigOC.Pulse = 500;
  sConfigOC.OCPolarity = TIM_OCPOLARITY_HIGH;
  sConfigOC.OCFastMode = TIM_OCFAST_DISABLE;
  if (HAL_TIM_OC_ConfigChannel(&htim3, &sConfigOC, TIM_CHANNEL_1) != HAL_OK)
  {
    Error_Handler();
  }
  if (HAL_TIM_OC_ConfigChannel(&htim3, &sConfigOC, TIM_CHANNEL_2) != HAL_OK)
  {
    Error_Handler();
  }

}

static void MX_TIM6_Init(void)
{

  TIM_MasterConfigTypeDef sMasterConfig = {0};

  htim6.Instance = TIM6;
  htim6.Init.Prescaler = 72 - 1;
  htim6.Init.CounterMode = TIM_COUNTERMODE_UP;
  htim6.Init.Period = 10 ;
  htim6.Init.AutoReloadPreload = TIM_AUTORELOAD_PRELOAD_DISABLE;
  if (HAL_TIM_Base_Init(&htim6) != HAL_OK)
  {
    Error_Handler();
  }
  sMasterConfig.MasterOutputTrigger = TIM_TRGO_RESET;
  sMasterConfig.MasterSlaveMode = TIM_MASTERSLAVEMODE_DISABLE;
  if (HAL_TIMEx_MasterConfigSynchronization(&htim6, &sMasterConfig) != HAL_OK)
  {
    Error_Handler();
  }

}

static void MX_TIM7_Init(void)
{

  TIM_MasterConfigTypeDef sMasterConfig = {0};

  htim7.Instance = TIM7;
  htim7.Init.Prescaler = 6 - 1;
  htim7.Init.CounterMode = TIM_COUNTERMODE_UP;
  htim7.Init.Period = 65535;
  htim7.Init.AutoReloadPreload = TIM_AUTORELOAD_PRELOAD_DISABLE;
  if (HAL_TIM_Base_Init(&htim7) != HAL_OK)
  {
    Error_Handler();
  }
  sMasterConfig.MasterOutputTrigger = TIM_TRGO_RESET;
  sMasterConfig.MasterSlaveMode = TIM_MASTERSLAVEMODE_DISABLE;
  if (HAL_TIMEx_MasterConfigSynchronization(&htim7, &sMasterConfig) != HAL_OK)
  {
    Error_Handler();
  }

}

static void MX_TIM15_Init(void)
{

  TIM_ClockConfigTypeDef sClockSourceConfig = {0};
  TIM_MasterConfigTypeDef sMasterConfig = {0};
  TIM_IC_InitTypeDef sConfigIC = {0};

  htim15.Instance = TIM15;
  htim15.Init.Prescaler = 72 - 1;
  htim15.Init.CounterMode = TIM_COUNTERMODE_UP;
  htim15.Init.Period = 65535;
  htim15.Init.ClockDivision = TIM_CLOCKDIVISION_DIV1;
  htim15.Init.RepetitionCounter = 0;
  htim15.Init.AutoReloadPreload = TIM_AUTORELOAD_PRELOAD_DISABLE;
  if (HAL_TIM_Base_Init(&htim15) != HAL_OK)
  {
    Error_Handler();
  }
  sClockSourceConfig.ClockSource = TIM_CLOCKSOURCE_INTERNAL;
  if (HAL_TIM_ConfigClockSource(&htim15, &sClockSourceConfig) != HAL_OK)
  {
    Error_Handler();
  }
  if (HAL_TIM_IC_Init(&htim15) != HAL_OK)
  {
    Error_Handler();
  }
  sMasterConfig.MasterOutputTrigger = TIM_TRGO_RESET;
  sMasterConfig.MasterSlaveMode = TIM_MASTERSLAVEMODE_DISABLE;
  if (HAL_TIMEx_MasterConfigSynchronization(&htim15, &sMasterConfig) != HAL_OK)
  {
    Error_Handler();
  }
  sConfigIC.ICPolarity = TIM_INPUTCHANNELPOLARITY_RISING;
  sConfigIC.ICSelection = TIM_ICSELECTION_DIRECTTI;
  sConfigIC.ICPrescaler = TIM_ICPSC_DIV1;
  sConfigIC.ICFilter = 0;
  if (HAL_TIM_IC_ConfigChannel(&htim15, &sConfigIC, TIM_CHANNEL_1) != HAL_OK)
  {
    Error_Handler();
  }
  sConfigIC.ICPolarity = TIM_INPUTCHANNELPOLARITY_FALLING;
  sConfigIC.ICSelection = TIM_ICSELECTION_INDIRECTTI;
  if (HAL_TIM_IC_ConfigChannel(&htim15, &sConfigIC, TIM_CHANNEL_2) != HAL_OK)
  {
    Error_Handler();
  }

}

static void MX_TIM16_Init(void)
{

  htim16.Instance = TIM16;
  htim16.Init.Prescaler = 72 - 1;
  htim16.Init.CounterMode = TIM_COUNTERMODE_UP;
  htim16.Init.Period = 1000;
  htim16.Init.ClockDivision = TIM_CLOCKDIVISION_DIV1;
  htim16.Init.RepetitionCounter = 0;
  htim16.Init.AutoReloadPreload = TIM_AUTORELOAD_PRELOAD_DISABLE;
  if (HAL_TIM_Base_Init(&htim16) != HAL_OK)
  {
    Error_Handler();
  }

}

static void MX_USART1_UART_Init(void)
{

  huart1.Instance = USART1;
  huart1.Init.BaudRate = 1000000;
  huart1.Init.WordLength = UART_WORDLENGTH_8B;
  huart1.Init.StopBits = UART_STOPBITS_1;
  huart1.Init.Parity = UART_PARITY_NONE;
  huart1.Init.Mode = UART_MODE_TX_RX;
  huart1.Init.HwFlowCtl = UART_HWCONTROL_NONE;
  huart1.Init.OverSampling = UART_OVERSAMPLING_16;
  huart1.Init.OneBitSampling = UART_ONE_BIT_SAMPLE_DISABLE;
  huart1.AdvancedInit.AdvFeatureInit = UART_ADVFEATURE_NO_INIT;
  if (HAL_UART_Init(&huart1) != HAL_OK)
  {
    Error_Handler();
  }

}

static void MX_DMA_Init(void)
{

  /* DMA controller clock enable */
  __HAL_RCC_DMA1_CLK_ENABLE();
  __HAL_RCC_DMA2_CLK_ENABLE();

  /* DMA interrupt init */
  /* DMA1_Channel1_IRQn interrupt configuration */
  HAL_NVIC_SetPriority(DMA1_Channel1_IRQn, 3, 0);
  HAL_NVIC_EnableIRQ(DMA1_Channel1_IRQn);
  /* DMA1_Channel5_IRQn interrupt configuration */
  HAL_NVIC_SetPriority(DMA1_Channel5_IRQn, 0, 0);
  HAL_NVIC_EnableIRQ(DMA1_Channel5_IRQn);
  /* DMA2_Channel1_IRQn interrupt configuration */
  HAL_NVIC_SetPriority(DMA2_Channel1_IRQn, 0, 0);
  HAL_NVIC_EnableIRQ(DMA2_Channel1_IRQn);

}

static void MX_GPIO_Init(void)
{
  GPIO_InitTypeDef GPIO_InitStruct = {0};

  /* GPIO Ports Clock Enable */
  __HAL_RCC_GPIOF_CLK_ENABLE();
  __HAL_RCC_GPIOA_CLK_ENABLE();
  __HAL_RCC_GPIOB_CLK_ENABLE();

  /*Configure GPIO pin Output Level */
  HAL_GPIO_WritePin(GPIOB, OUT_A_Pin|OUT_B_Pin|OUT_C_Pin|LED1_Pin
                          |LED2_Pin|IN_A_Pin|INH_A_Pin|IN_B_Pin
                          |INH_B_Pin|IN_C_Pin|INH_C_Pin, GPIO_PIN_RESET);

  /*Configure GPIO pin : ADC_PHASEA_Pin */
  GPIO_InitStruct.Pin = ADC_PHASEA_Pin;
  GPIO_InitStruct.Mode = GPIO_MODE_ANALOG;
  GPIO_InitStruct.Pull = GPIO_NOPULL;
  HAL_GPIO_Init(ADC_PHASEA_GPIO_Port, &GPIO_InitStruct);

  /*Configure GPIO pins : OUT_A_Pin OUT_B_Pin OUT_C_Pin IN_A_Pin
                           IN_B_Pin IN_C_Pin */
  GPIO_InitStruct.Pin = OUT_A_Pin|OUT_B_Pin|OUT_C_Pin|IN_A_Pin
                          |IN_B_Pin|IN_C_Pin;
  GPIO_InitStruct.Mode = GPIO_MODE_OUTPUT_OD;
  GPIO_InitStruct.Pull = GPIO_NOPULL;
  GPIO_InitStruct.Speed = GPIO_SPEED_FREQ_LOW;
  HAL_GPIO_Init(GPIOB, &GPIO_InitStruct);

  /*Configure GPIO pins : LED1_Pin LED2_Pin INH_A_Pin INH_B_Pin
                           INH_C_Pin */
  GPIO_InitStruct.Pin = LED1_Pin|LED2_Pin|INH_A_Pin|INH_B_Pin
                          |INH_C_Pin;
  GPIO_InitStruct.Mode = GPIO_MODE_OUTPUT_PP;
  GPIO_InitStruct.Pull = GPIO_NOPULL;
  GPIO_InitStruct.Speed = GPIO_SPEED_FREQ_LOW;
  HAL_GPIO_Init(GPIOB, &GPIO_InitStruct);

}

/* USER CODE BEGIN 4 */
void HAL_UART_RxCpltCallback(UART_HandleTypeDef *huart){
    uint16_t i, pos, start, length;
    uint16_t currCNDTR = __HAL_DMA_GET_COUNTER(huart->hdmarx);

    /* Ignore IDLE Timeout when the received characters exactly filled up the DMA buffer and DMA Rx Complete IT is generated, but there is no new character during timeout */
    if(dma_uart_rx.flag && currCNDTR == DMA_BUF_SIZE)
    {
        dma_uart_rx.flag = 0;
        return;
    }

    /* Determine start position in DMA buffer based on previous CNDTR value */
    start = (dma_uart_rx.prevCNDTR < DMA_BUF_SIZE) ? (DMA_BUF_SIZE - dma_uart_rx.prevCNDTR) : 0;

    if(dma_uart_rx.flag)    /* Timeout event */
    {
        /* Determine new data length based on previous DMA_CNDTR value:
         *  If previous CNDTR is less than DMA buffer size: there is old data in DMA buffer (from previous timeout) that has to be ignored.
         *  If CNDTR == DMA buffer size: entire buffer content is new and has to be processed.
        */
        length = (dma_uart_rx.prevCNDTR < DMA_BUF_SIZE) ? (dma_uart_rx.prevCNDTR - currCNDTR) : (DMA_BUF_SIZE - currCNDTR);
        dma_uart_rx.prevCNDTR = currCNDTR;
        dma_uart_rx.flag = 0;
    }
    else                /* DMA Rx Complete event */
    {
        length = DMA_BUF_SIZE - start;
        dma_uart_rx.prevCNDTR = DMA_BUF_SIZE;
    }

    /* Copy and Process new data */
    for(i=0,pos=start; i<length; ++i,++pos)
    {
        data[i] = dma_rx_buf[pos];
    }
    USART1DataFlag = true;

}

void HAL_TIM_IC_CaptureCallback(TIM_HandleTypeDef *htim){
	static uint32_t Count_RisingEdge;
	static uint32_t Count_FallingEdge;
	static uint32_t Count_Freq1;
	static uint32_t Count_Freq2;
	static bool Freq_State;

	if(htim->Channel == HAL_TIM_ACTIVE_CHANNEL_1){
		Count_RisingEdge = TIM15->CCR1;

		if(Freq_State == 0){
			Freq_State = 1;
			Count_Freq1 = Count_RisingEdge;

		}
		else if(Freq_State == 1){
			Freq_State = 0;
			Count_Freq2 = Count_RisingEdge;
			if(Count_Freq2 > Count_Freq1) inputFrequency = 1/((float)Count_Freq2 - (float)Count_Freq1) * 1000000; //in kHz;
		}
	}

	else if(htim->Channel == HAL_TIM_ACTIVE_CHANNEL_2){
		Count_FallingEdge = TIM15->CCR2;

		if(Count_RisingEdge < Count_FallingEdge){
			inputDutyCycle = Count_FallingEdge - Count_RisingEdge;
			//input_pwm_min = inputDutyCycle < input_pwm_min ? inputDutyCycle : input_pwm_min;
			//input_pwm_max = inputDutyCycle > input_pwm_max ? inputDutyCycle : input_pwm_max;

			//strSize = sprintf((char*)buffer, "DutyCycle: %lu, Frequency: %f\r\n", inputDutyCycle, inputFrequency);
			//HAL_UART_Transmit(&huart1, buffer, strSize, 10);

			//inputRPM = map(inputDutyCycle, 1000, 2000, 0, 5000);

			Count_RisingEdge = 0;
			Count_FallingEdge = 0;
		}
	}

	if(inputFrequency >= FREQ_INPUT_PWM_MIN && inputFrequency <= FREQ_INPUT_PWM_MAX){
		//strSize = sprintf((char*)buffer, "Frequency %f\t PWM: %d\r\n", inputFrequency, setPWM);
		//HAL_UART_Transmit(&huart1, buffer, strSize, 10);
		if(inputDutyCycle >= 1050 && mode_motor == MODE_MOTOR_STOP){
			mode_motor = MODE_MOTOR_CALIBRATION;
			strSize = sprintf((char*)buffer, "motor calibration\r\n");
			HAL_UART_Transmit(&huart1, buffer, strSize, 10);
		} else if(inputDutyCycle < 1050 && mode_motor == MODE_MOTOR_STOP){
			mode_motor = MODE_MOTOR_READY;
			strSize = sprintf((char*)buffer, "motor ready\r\n");
			HAL_UART_Transmit(&huart1, buffer, strSize, 10);
		} else if(inputDutyCycle >= 1050 && mode_motor == MODE_MOTOR_READY){
			mode_motor = MODE_MOTOR_START;
			strSize = sprintf((char*)buffer, "motor start\r\n");
			HAL_UART_Transmit(&huart1, buffer, strSize, 10);
		}
	}
}

void HAL_TIM_PeriodElapsedCallback(TIM_HandleTypeDef *htim){
	if(htim->Instance == TIM6){
		static int count;
		count++;
		//measuredRPM = getRPM(tim2cnt);
		//strSize = sprintf((char*)buffer, "%f\r\n", measuredRPM);
		//HAL_UART_Transmit_IT(&huart1, buffer, strSize);
		if(count % 100 == 0 && mode_motor == MODE_MOTOR_RUN){
			strSize = sprintf((char*)buffer, "%lu\r\n", tim2cnt);
			HAL_UART_Transmit_IT(&huart1, buffer, strSize);
		}

	}
	else if(htim->Instance == TIM16){
		//Controller();
		static bool flash;
		static uint64_t led_counter;
		led_counter++;
		switch(mode_motor){
		case MODE_MOTOR_STOP:
			if(led_counter % 1000 == 0) HAL_GPIO_TogglePin(LED2_GPIO_Port, LED2_Pin);
			break;
		case MODE_MOTOR_CALIBRATION:
			if(led_counter % 100 == 0) HAL_GPIO_TogglePin(LED2_GPIO_Port, LED2_Pin);
			break;
		case MODE_MOTOR_READY:
			if(led_counter % 2000 == 0) flash = true;
			if(flash){
				static uint8_t flash_count;
				if(led_counter % 100 == 0){
					flash_count++;
					HAL_GPIO_TogglePin(LED2_GPIO_Port, LED2_Pin);
					if(flash_count >= 10) {
						flash_count = 0;
						flash = false;
					}
				}
			} else if(HAL_GPIO_ReadPin(LED2_GPIO_Port, LED2_Pin) != GPIO_PIN_SET && !flash)
				HAL_GPIO_WritePin(LED2_GPIO_Port, LED2_Pin, GPIO_PIN_SET);
			break;
		default:
			if(HAL_GPIO_ReadPin(LED2_GPIO_Port, LED2_Pin) != GPIO_PIN_SET) 	HAL_GPIO_WritePin(LED2_GPIO_Port, LED2_Pin, GPIO_PIN_SET);
			break;

		}
	}
}

void HAL_COMP_TriggerCallback(COMP_HandleTypeDef *hcomp)
{
	static uint8_t count;
	TIM1->CCR5 = setPWM + compWindowOffset;

	if(hcomp->Instance == COMP1 && waitForCommutation == 0){
		count++;
		if(count >= 0){
			count = 0;

			tim2cnt = __HAL_TIM_GET_COUNTER(&htim2);
			__HAL_TIM_SET_COUNTER(&htim2, 0);

			HAL_COMP_Stop_IT(&hcomp1);
			sConfig.Channel = ADC_CHANNEL_2;
			HAL_ADC_ConfigChannel(&hadc2, &sConfig);
			HAL_ADC_Start_DMA(&hadc2, (uint32_t*)adcBuffer, 10);
			//HAL_ADC_Start_IT(&hadc2);

			waitForCommutation = 1;
		}

	}

	else if(hcomp->Instance == COMP2 && waitForCommutation == 0){
		count++;
		if(count >= 0){
			count = 0;

			tim2cnt = __HAL_TIM_GET_COUNTER(&htim2);
			__HAL_TIM_SET_COUNTER(&htim2, 0);

			HAL_COMP_Stop_IT(&hcomp2);
			sConfig.Channel = ADC_CHANNEL_3;
			HAL_ADC_ConfigChannel(&hadc2, &sConfig);
			HAL_ADC_Start_DMA(&hadc2, (uint32_t*)adcBuffer, 10);
			//HAL_ADC_Start_IT(&hadc2);

			waitForCommutation = 1;
		}

	}

	else if(hcomp->Instance == COMP3 && waitForCommutation == 0){
		count++;
		if(count >= 0){
			count = 0;

			tim2cnt = __HAL_TIM_GET_COUNTER(&htim2);
			__HAL_TIM_SET_COUNTER(&htim2, 0);

			HAL_COMP_Stop_IT(&hcomp3);
			sConfig.Channel = ADC_CHANNEL_4;
			HAL_ADC_ConfigChannel(&hadc2, &sConfig);
			HAL_ADC_Start_DMA(&hadc2, (uint32_t*)adcBuffer, 10);
			//HAL_ADC_Start_IT(&hadc2);

			waitForCommutation = 1;
		}

	}

	if(setPWM > 300 && !pwmState){
		HAL_GPIO_WritePin(GPIOB, OUT_A_Pin | OUT_B_Pin | OUT_C_Pin, GPIO_PIN_RESET);

		HAL_TIM_PWM_Stop(&htim1, TIM_CHANNEL_5);
		HAL_DAC_SetValue(&hdac, DAC_CHANNEL_1, DAC_ALIGN_12B_R, 1800 + oc5Value);
		compWindowOffset = -80;

		HAL_TIM_PWM_ConfigChannel(&htim1, &sConfigOC5A, TIM_CHANNEL_5);
		TIM1->CCR5 = setPWM + compWindowOffset;
		pwmState = 1;
		HAL_TIM_PWM_Start(&htim1, TIM_CHANNEL_5);
	}

	if(setPWM < 250 && pwmState){
		HAL_GPIO_WritePin(GPIOB, OUT_A_Pin | OUT_B_Pin | OUT_C_Pin, GPIO_PIN_SET);

		HAL_TIM_PWM_Stop(&htim1, TIM_CHANNEL_5);
		HAL_DAC_SetValue(&hdac, DAC_CHANNEL_1, DAC_ALIGN_12B_R, 0);
		compWindowOffset = 250;

		HAL_TIM_PWM_ConfigChannel(&htim1, &sConfigOC5B, TIM_CHANNEL_5);
		TIM1->CCR5 = setPWM + compWindowOffset;
		pwmState = 0;
		HAL_TIM_PWM_Start(&htim1, TIM_CHANNEL_5);
	}
}

void HAL_ADC_ConvCpltCallback(ADC_HandleTypeDef* hadc){
	static float csADCAverage;
	static uint32_t csADCTotal;
	static float adcAverage;
	static float adcTotal;
	/*if(hadc->Instance == ADC2){
		adcIntegral += (float)HAL_ADC_GetValue(&hadc2);

		if(adcIntegral >= adcOffset){
			HAL_ADC_Stop_IT(&hadc2);
			adcIntegral = 0;
			commutationPattern(NEXT);
		} else{
			HAL_ADC_Start_IT(&hadc2);
		}
	}*/
	if(hadc->Instance == ADC2){
		for(int i = 0; i < 10; i++){
			adcTotal += (float)adcBuffer[i];
		}
		adcAverage = adcTotal / 10;
		adcIntegral += adcAverage;

		adcTotal = 0;

		if(adcIntegral > adcOffset){
			HAL_ADC_Stop_DMA(&hadc2);
			adcIntegral = 0;

			commutationPattern(NEXT);
		}
	}

	if(hadc->Instance == ADC1){
		for(int i = 0; i < 12; i++){
			csADCTotal += csADC[i];
		}
		csADCAverage = (float)csADCTotal / 12;
		csADCTotal = 0;
		//csSize = sprintf((char*)csString, "%f\r\n", csADCAverage);
		//HAL_UART_Transmit_IT(&huart1, csString, csSize);
	}
}
/* USER CODE END 4 */

void Error_Handler(void)
{
}

/************************ (C) COPYRIGHT STMicroelectronics *****END OF FILE****/
